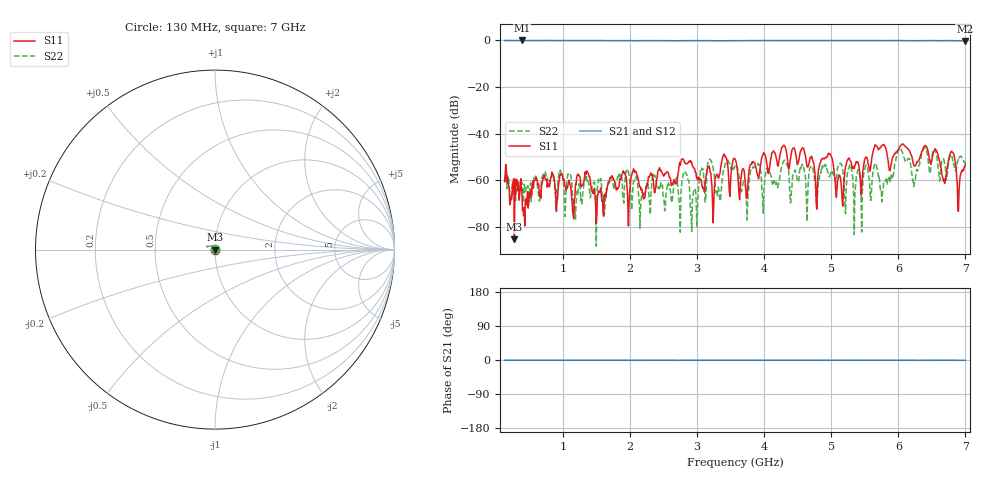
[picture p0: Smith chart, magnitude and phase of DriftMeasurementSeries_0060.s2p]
# Hz S RI R 50.000000
! Metas.Vna.Tools, 2.8.8664.20301
! Metas.Vna.Data, 2.8.8664.20285
! Created: UTC 2024.02.11 10:08:29
! FREQ  re:S1,1  im:S1,1  re:S2,1  im:S2,1  re:S1,2  im:S1,2  re:S2,2  im:S2,2
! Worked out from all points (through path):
!   801 points, 130 MHz to 7 GHz, reference 50 ohm
!   highest |S21| = -0.01 dB at 387.6 MHz (marker M1); lowest = -0.2 dB at 6.991 GHz (marker M2)
!   lowest |S11| = -85.3 dB at 276 MHz (marker M3), VSWR 1.00, Z = 50 - j0.00253 ohm
!   |S11| at or under -10 dB: start of sweep to end of sweep
!   |S22| runs from -88.2 to -45.9 dB; largest |S21 - S12| = 0.02
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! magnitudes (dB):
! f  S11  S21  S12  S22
! 130 MHz  -60.5  0.0  0.0  -59.5
! 276 MHz  -85.3  -0.1  0.0  -64.0
! 387.6 MHz  -64.0  0.0  0.0  -60.9
! 1.281 GHz  -62.1  -0.1  0.0  -70.0
! 2.423 GHz  -55.6  -0.1  0.0  -62.9
! 2.826 GHz  -52.7  -0.1  0.0  -56.4
! 2.93 GHz  -53.8  -0.1  0.0  -68.7
! 3.247 GHz  -71.0  -0.1  0.0  -56.7
! 3.565 GHz  -50.8  -0.1  0.0  -53.6
! 3.737 GHz  -67.8  -0.1  0.0  -69.2
! 3.891 GHz  -56.7  -0.1  0.0  -53.8
! 4.716 GHz  -50.4  -0.1  0.0  -54.5
! 5.162 GHz  -68.3  -0.1  0.0  -54.1
! 5.257 GHz  -50.7  -0.1  0.0  -55.0
! 5.858 GHz  -54.1  -0.1  0.0  -59.8
! 6.021 GHz  -45.7  -0.1  0.0  -46.4
! 6.236 GHz  -53.7  -0.1  0.0  -62.6
! 6.382 GHz  -45.7  -0.1  0.0  -46.5
! 6.811 GHz  -48.0  -0.1  0.0  -51.4
! 6.897 GHz  -73.3  -0.1  0.0  -50.6
! 6.991 GHz  -54.4  -0.2  0.0  -52.0
! 7 GHz  -53.1  -0.2  0.0  -53.0
